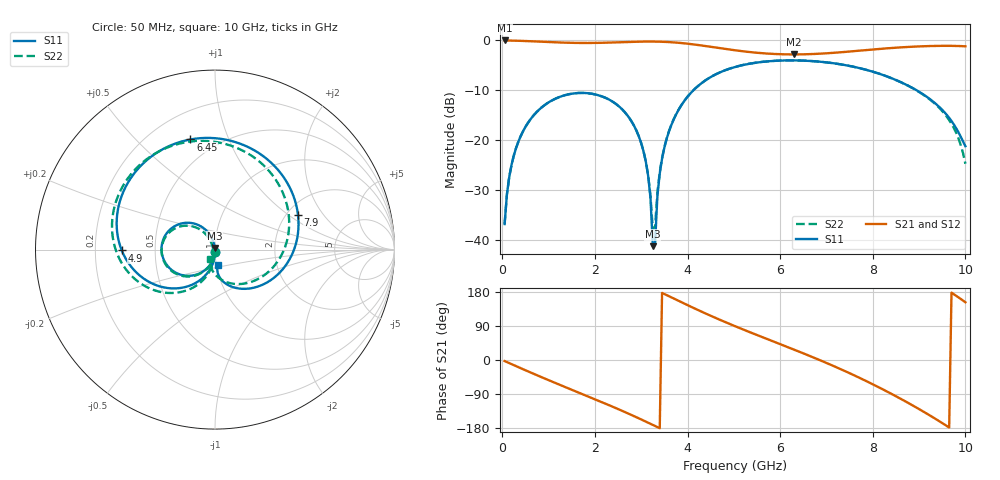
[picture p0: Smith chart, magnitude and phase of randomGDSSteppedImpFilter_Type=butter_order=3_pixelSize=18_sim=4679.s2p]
! freq	dB(S11)	phase(S11)	dB(S12)	phase(S12)
!  dB(S21)	phase(S21)	dB(S22)	phase(S22)
!S-par simulation data
#  GHz  S  DB  R 50
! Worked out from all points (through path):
!   200 points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, 50 MHz to 10 GHz, reference 50 ohm
!   highest |S21| = -0.01 dB at 50 MHz (marker M1); lowest = -2.8 dB at 6.3 GHz (marker M2)
!   group delay of S21, straight-line fit = 152 ps
!   lowest |S11| = -41.2 dB at 3.25 GHz (marker M3), VSWR 1.02, Z = 49.9 + j0.858 ohm
!   |S11| at or under -10 dB: start of sweep to 4.127 GHz; 8.948 GHz to end of sweep
!   |S22| runs from -37.9 to -4.0 dB; largest |S21 - S12| = 0
!   S11 on the Smith chart (normalised r, x): 50 MHz: 1.00, -0.03; 4.9 GHz: 0.32, -0.00; 6.45 GHz: 0.36, +0.74; 7.9 GHz: 2.29, +1.19; 10 GHz: 1.02, -0.18
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0.05  -36.80 -92.7  -0.01 -2.8  -0.01 -2.8  -36.80 -92.6
0.2  -24.91 -101.3  -0.03 -10.9  -0.03 -10.9  -24.91 -100.9
0.5  -17.33 -118.0  -0.12 -27.1  -0.12 -27.1  -17.33 -117.1
1.75  -10.52 176.8  -0.51 -91.0  -0.51 -91.0  -10.52 -179.8
2.9  -18.15 115.7  -0.26 -151.2  -0.26 -151.2  -18.15 124.2
3.15  -27.17 101.6  -0.22 -165.4  -0.22 -165.4  -27.06 118.5
3.2  -31.56 98.9  -0.22 -168.3  -0.22 -168.3  -31.16 123.6
3.25  -41.23 97.8  -0.23 -171.2  -0.23 -171.2  -37.90 151.0
3.3  -40.51 -89.7  -0.23 -174.1  -0.23 -174.1  -37.19 -126.6
3.4  -26.65 -94.0  -0.25 -180.0  -0.25 -180.0  -26.38 -99.6
3.6  -18.22 -105.7  -0.33 168.2  -0.33 168.2  -18.16 -104.0
3.9  -12.53 -123.6  -0.55 150.6  -0.55 150.6  -12.50 -119.0
4.9  -5.69 -179.5  -1.82 95.6  -1.82 95.6  -5.67 -170.5
5.05  -5.27 172.7  -2.01 88.0  -2.01 88.0  -5.25 -177.7
6.3  -4.00 110.2  -2.81 27.4  -2.81 27.4  -4.00 124.9
6.45  -4.03 102.6  -2.79 20.1  -2.79 20.1  -4.03 118.0
6.7  -4.15 89.7  -2.73 7.6  -2.73 7.6  -4.14 106.2
7.9  -5.99 22.8  -1.90 -58.0  -1.90 -58.0  -6.00 43.3
8.35  -7.37 -4.2  -1.55 -85.9  -1.55 -85.9  -7.37 15.7
8.85  -9.49 -34.6  -1.26 -119.1  -1.26 -119.1  -9.51 -18.2
9.35  -12.61 -63.9  -1.10 -155.0  -1.10 -155.0  -12.75 -56.5
10  -21.21 -78.0  -1.18 152.3  -1.18 152.3  -24.73 -117.7
